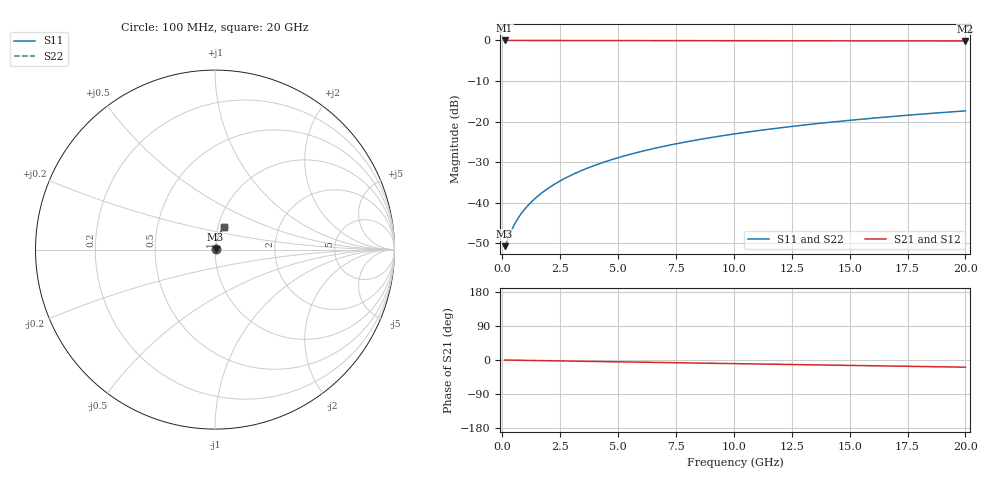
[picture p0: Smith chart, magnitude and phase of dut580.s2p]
! Touchstone file exported from HFSS 2026.1.0
!  File:  C:/ffzhzh/LocalFiles/Ansys_Project_Files/temp_train_TMRDL_580_1783008222_51716.aedt
!  Generated:  12:05:07 AM Jul  3, 2026
!  Design:  TMRDL
!  Project:  temp_train_TMRDL_580_1783008222_51716
! Variables:
!  h_bsmrdl = 2um
!  h_ox = 20um
!  h_rdl = 5um
!  h_sub = 80um
!  h_tmrdl = 2.05um
!  h_tsv = 80um
!  h_via = 3um
!  l_bsmrdl = 300um
!  l_sub = 687.21um
!  l_tmrdl = 287.21um
!  m_sub = 200um
!  pitch = 31.21um
!  r_tsv = 6um
!  s_tmrdl = 10um
!  w_bsmrdl = 18um
!  w_sub = 500um
!  w_tmrdl = 20.63um
!  x_tsv_center1 = 297.525um
!  x_tsv_center2 = 615.525um
!  x_tsv_center3 = 923.365um
!  x_tsv_center4 = 1241.365um
!  x_tsv_center5 = 1549.205um
!  x_tsv_center6 = 1867.205um
# GHz S MA R 50.000000
! Terminal data exported
! Port[1] = TM_RDL1_1_T1
! Port[2] = TM_RDL1_1_T2
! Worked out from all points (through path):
!   200 points, 100 MHz to 20 GHz, reference 50 ohm
!   highest |S21| = -0.02 dB at 100 MHz (marker M1); lowest = -0.1 dB at 20 GHz (marker M2)
!   group delay of S21, straight-line fit = 2.64 ps
!   lowest |S11| = -50.7 dB at 100 MHz (marker M3), VSWR 1.01, Z = 50.3 + j0.0884 ohm
!   |S11| at or under -10 dB: start of sweep to end of sweep
!   |S22| runs from -50.7 to -17.4 dB; largest |S21 - S12| = 2.9e-15
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0.1  0.00293 17.5  0.9972 -0.1  0.9972 -0.1  0.00293 17.5
! Gamma 0 0 0 0
! Port Impedance 50 0 50 0
0.2  0.003351 31.3  0.9971 -0.2  0.9971 -0.2  0.003351 31.3
0.4  0.004573 47.6  0.9969 -0.4  0.9969 -0.4  0.004573 47.6
0.5  0.005244 52.3  0.9968 -0.5  0.9968 -0.5  0.005244 52.3
0.7  0.006591 58.4  0.9966 -0.7  0.9966 -0.7  0.006591 58.4
1  0.008577 64.0  0.9963 -1.0  0.9963 -1.0  0.008577 64.0
1.3  0.01055 67.7  0.9962 -1.3  0.9962 -1.3  0.01055 67.7
1.5  0.01188 69.5  0.9961 -1.5  0.9961 -1.5  0.01188 69.5
1.8  0.01388 71.7  0.996 -1.8  0.996 -1.8  0.01388 71.7
2.3  0.01726 74.2  0.9958 -2.2  0.9958 -2.2  0.01726 74.2
2.9  0.02138 76.0  0.9956 -2.8  0.9956 -2.8  0.02138 76.0
3.5  0.02552 77.0  0.9954 -3.4  0.9954 -3.4  0.02552 77.0
4.2  0.03038 77.7  0.9952 -4.1  0.9952 -4.1  0.03038 77.7
5  0.03594 78.0  0.9949 -4.8  0.9949 -4.8  0.03594 78.0
5.9  0.0422 78.0  0.9945 -5.7  0.9945 -5.7  0.0422 78.0
6.8  0.04843 77.8  0.994 -6.6  0.994 -6.6  0.04843 77.8
8.3  0.05877 77.0  0.9932 -8.0  0.9932 -8.0  0.05876 77.0
10.1  0.07105 75.9  0.992 -9.7  0.992 -9.7  0.07105 75.9
11.7  0.08184 74.7  0.9908 -11.2  0.9908 -11.2  0.08184 74.7
13.4  0.09317 73.3  0.9894 -12.8  0.9894 -12.8  0.09317 73.4
16.7  0.1147 70.6  0.9864 -15.9  0.9864 -15.9  0.1147 70.6
20  0.1355 67.7  0.9829 -19.0  0.9829 -19.0  0.1355 67.7
